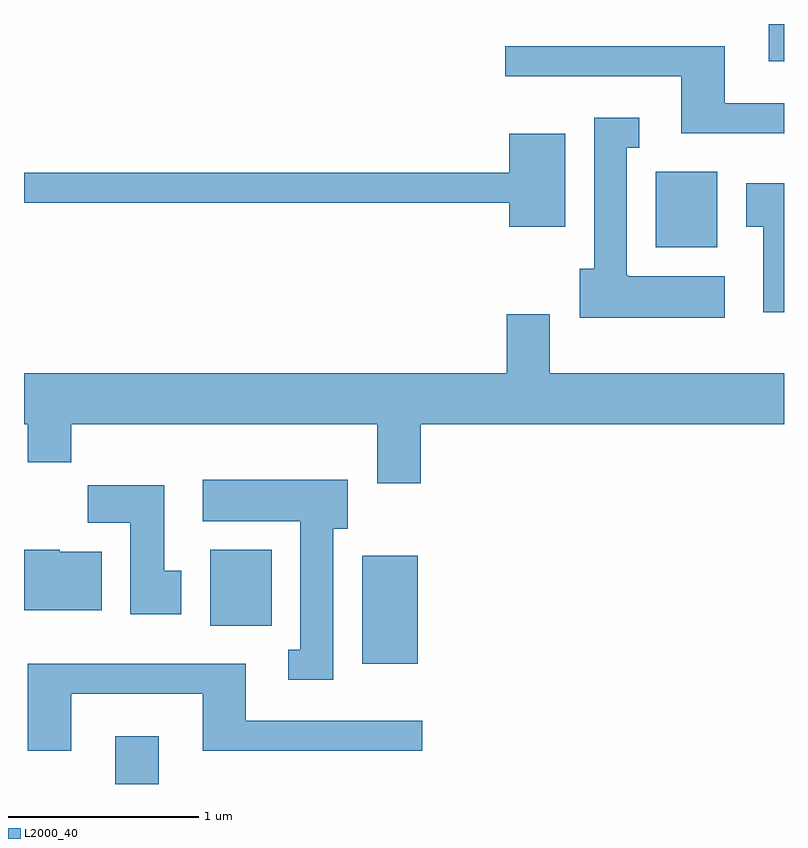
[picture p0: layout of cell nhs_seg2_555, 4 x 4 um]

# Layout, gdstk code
import gdstk
lib = gdstk.Library(unit=1e-6, precision=1e-09)
def R(c, l, rs):  # rectangles x0, y0, x1, y1
    for r in rs: c.add(gdstk.rectangle(r[:2], r[2:], *l))
def P(c, l, *ps):  # polygons
    for p in ps: c.add(gdstk.Polygon(p, *l))
L2000_40 = (2000, 40)

nhs_seg2_555 = lib.new_cell('nhs_seg2_555')
R(nhs_seg2_555, L2000_40, [(202.091,999.802,202.319,1000.054), (203.391,1000.436,203.684,1001.004), (202.591,1000.636,202.914,1001.034), (204.936,1002.626,205.259,1003.024), (205.531,1003.606,205.611,1003.802)])
P(nhs_seg2_555, L2000_40, [(205.611,1003.384),(205.299,1003.384),(205.299,1003.684),(204.143,1003.684),(204.143,1003.526),(205.071,1003.526),(205.071,1003.226),(205.611,1003.226)],
  [(205.299,1002.474),(204.79,1002.474),(204.79,1002.48),(204.784,1002.48),(204.784,1003.151),(204.848,1003.151),(204.848,1003.309),(204.611,1003.309),(204.611,1002.514),(204.536,1002.514),(204.536,1002.256),(205.299,1002.256)],
  [(204.459,1003.224),(204.166,1003.224),(204.166,1003.019),(201.611,1003.019),(201.611,1002.861),(204.166,1002.861),(204.166,1002.736),(204.459,1002.736)],
  [(205.611,1002.964),(205.411,1002.964),(205.411,1002.736),(205.501,1002.736),(205.501,1002.286),(205.611,1002.286)],
  [(203.699,1001.696),(205.611,1001.696),(205.611,1001.964),(204.379,1001.964),(204.379,1002.274),(204.151,1002.274),(204.151,1001.964),(201.611,1001.964),(201.611,1001.696),(201.631,1001.696),(201.631,1001.496),(201.859,1001.496),(201.859,1001.696),(203.471,1001.696),(203.471,1001.386),(203.699,1001.386)],
  [(203.239,1001.146),(203.314,1001.146),(203.314,1001.404),(202.551,1001.404),(202.551,1001.186),(203.066,1001.186),(203.066,1000.509),(203.003,1000.509),(203.003,1000.351),(203.239,1000.351)],
  [(202.439,1000.924),(202.349,1000.924),(202.349,1001.374),(201.946,1001.374),(201.946,1001.176),(202.171,1001.176),(202.171,1000.696),(202.439,1000.696)],
  [(202.019,1001.024),(201.8,1001.024),(201.8,1001.034),(201.611,1001.034),(201.611,1000.716),(202.019,1000.716)],
  [(201.859,1000.276),(202.551,1000.276),(202.551,999.976),(203.708,999.976),(203.708,1000.134),(202.779,1000.134),(202.779,1000.434),(201.631,1000.434),(201.631,999.976),(201.859,999.976)])

lib.write_gds('nhs_seg2_555.gds')
